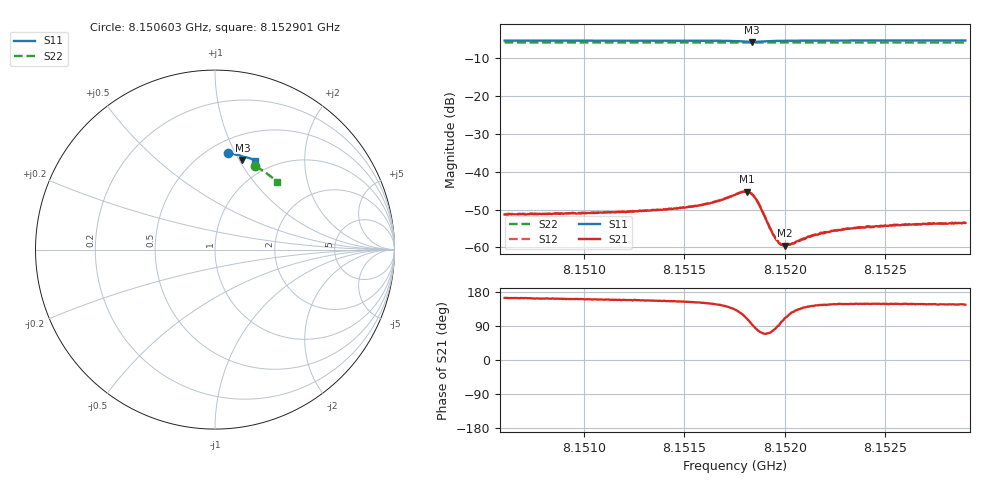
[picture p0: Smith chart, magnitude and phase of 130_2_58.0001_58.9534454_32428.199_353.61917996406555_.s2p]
#  HZ  S  RI  R  50.00
! Rohde & Schwarz Vector Network Analyzer
! Rohde-Schwarz,ZNB20-2Port,1311601062101988,3.16
! Created: UTC 3/21/2024, 12:56:05 AM
! freq[Hz]  re:S11  im:S11  re:S21  im:S21  re:S12  im:S12  re:S22  im:S22
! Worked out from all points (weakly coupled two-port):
!   401 points, 8.150603 GHz to 8.152901 GHz, reference 50 ohm
!   highest |S21| = -45.23 dB at 8.15181 GHz (marker M1); lowest = -59.6 dB at 8.151999 GHz (marker M2)
!   lowest |S11| = -5.6 dB at 8.151838 GHz (marker M3), VSWR 3.19, Z = 37.6 + j51.6 ohm
!   |S11| at or under -10 dB: nowhere
!   |S22| runs from -5.8 to -5.8 dB; largest |S21 - S12| = 0.00014
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8.1506032e9  0.0747 0.5367  -0.00262 0.000757  -0.00263 0.000799  0.2249 0.4631
8.1509881e9  0.1017 0.5328  -0.00267 0.000932  -0.00269 0.000984  0.2467 0.4513
8.151373e9  0.1295 0.5271  -0.00285 0.00126  -0.00285 0.00129  0.2679 0.4385
8.1515855e9  0.1458 0.522  -0.00317 0.00177  -0.00315 0.0018  0.2792 0.4309
8.151666e9  0.1528 0.5185  -0.00339 0.00227  -0.0034 0.00233  0.2835 0.428
8.1517522e9  0.1599 0.5108  -0.00337 0.00361  -0.00333 0.00372  0.2881 0.4245
8.1517866e9  0.1605 0.5049  -0.00282 0.00457  -0.00275 0.00466  0.2897 0.4231
8.1518096e9  0.1582 0.5011  -0.00187 0.00515  -0.00178 0.00522  0.2907 0.422
8.1518383e9  0.1522 0.4996  -0.000261 0.00498  -0.000204 0.00505  0.2919 0.4211
8.1518556e9  0.1489 0.5017  0.000515 0.00437  0.000573 0.00437  0.2926 0.4206
8.1518728e9  0.1474 0.5049  0.00092 0.00353  0.000982 0.00355  0.2935 0.42
8.1519302e9  0.1514 0.5133  0.000506 0.00165  0.00052 0.00164  0.2967 0.4184
8.1519532e9  0.1541 0.5147  0.000178 0.00132  0.000184 0.0013  0.298 0.4174
8.1519705e9  0.1561 0.5154  -1.75e-05 0.00114  -2.65e-05 0.00121  0.2988 0.4169
8.1519819e9  0.1576 0.5156  -0.000192 0.00106  -0.000142 0.00107  0.2994 0.4164
8.1519992e9  0.1594 0.5159  -0.000353 0.000991  -0.000317 0.00104  0.3005 0.4157
8.1520451e9  0.1641 0.5159  -0.000683 0.000898  -0.00069 0.000898  0.3028 0.414
8.1521371e9  0.1721 0.5147  -0.00113 0.000863  -0.00114 0.000897  0.3077 0.4103
8.1522232e9  0.179 0.5131  -0.00133 0.00088  -0.00136 0.000915  0.3119 0.4069
8.1523037e9  0.1849 0.5114  -0.00148 0.000937  -0.00148 0.000945  0.316 0.4037
8.152522e9  0.2003 0.5063  -0.00165 0.00103  -0.00166 0.00106  0.3267 0.3947
8.1529011e9  0.2254 0.4964  -0.00174 0.00118  -0.00171 0.0012  0.3445 0.3784
